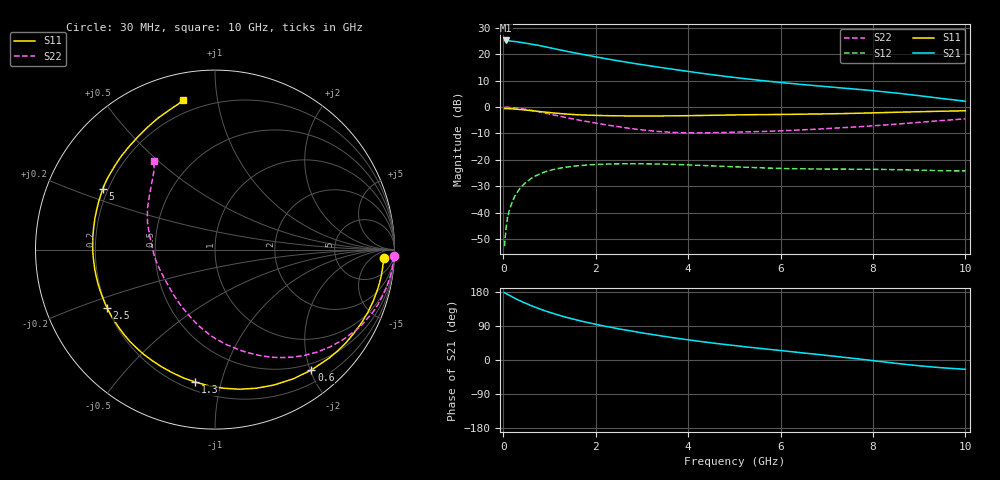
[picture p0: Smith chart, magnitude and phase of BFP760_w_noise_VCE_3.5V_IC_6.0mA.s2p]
! Infineon Technologies  Discrete & RF Semiconductors
! BFP760
! VCE =  3.5 V,  IC =  6.0 mA
! Common Emitter S-Parameters:  Nov 2012
# GHz  S  MA  R  50
!  f  S11  S21  S12  S22
! GHz  MAG  ANG  MAG  ANG  MAG  ANG  MAG  ANG
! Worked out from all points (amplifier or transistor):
!   99 points, 30 MHz to 10 GHz, reference 50 ohm
!   highest |S21| = 25.3 dB at 50 MHz (marker M1)
!   |S21| within 3 dB of that: start of sweep to 1.072 GHz
!   unconditionally stable (mu >= 1): 5.993 GHz to end of sweep
!   at 350 MHz: K = 0.10, MSG = 27.9 dB, |S12| = -31.1 dB
!   at 3.5 GHz: K = 0.53, MSG = 18.2 dB, |S12| = -21.6 dB
!   at 10 GHz: K = 1.26, MAG = 10.2 dB, |S12| = -24.2 dB
!   lowest NFmin = 0.43 dB at 900 MHz
!   S11 on the Smith chart (normalised r, x): 30 MHz: 20, -17; 600 MHz: 0.39, -2.02; 1.3 GHz: 0.25, -0.83; 2.5 GHz: 0.20, -0.24; 5 GHz: 0.18, +0.25; 10 GHz: 0.13, +0.80
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0.03  0.9423 -2.9  18.14 177.6  0.0023 84.9  0.9965 -2.2
0.05  0.9403 -4.6  18.41 175.9  0.0038 80.3  0.9946 -3.2
0.09  0.9378 -8.3  18.25 173.4  0.0081 80.5  0.9927 -5.7
0.25  0.9203 -22.4  17.58 163.1  0.0203 75.9  0.9679 -15.6
0.35  0.9035 -31.0  17.09 157.1  0.0279 71.4  0.9465 -21.5
0.45  0.8871 -39.3  16.56 151.5  0.0345 66.6  0.9202 -27.1
0.6  0.8595 -51.3  15.72 143.8  0.0441 59.6  0.8716 -35.2
0.8  0.8226 -66.6  14.64 134.3  0.0545 51.7  0.8071 -45.0
0.9  0.8057 -73.5  14.04 130.0  0.0589 48.1  0.7725 -49.7
1.1  0.7738 -86.5  12.88 122.1  0.0659 41.3  0.7078 -58.2
1.3  0.7464 -98.4  11.83 114.8  0.0712 35.6  0.6495 -65.9
1.7  0.7105 -119.4  10.1 102.4  0.0783 26.4  0.5542 -79.4
2.1  0.6936 -136.8  8.668 91.6  0.0822 18.9  0.4814 -92.4
2.5  0.6835 -151.5  7.529 82.3  0.084 12.9  0.4242 -104.2
3  0.6787 -167.4  6.405 71.7  0.0842 6.7  0.3706 -119.2
3.4  0.6805 -178.6  5.671 63.9  0.0831 2.6  0.3433 -131.2
4.2  0.6929 163.7  4.502 50.0  0.0788 -3.5  0.3245 -153.4
5  0.711 151.5  3.66 38.2  0.0738 -6.7  0.3342 -169.4
5.1  0.7129 150.2  3.574 36.8  0.0734 -6.9  0.3362 -171.0
6.7  0.7395 134.0  2.577 16.1  0.0671 -7.2  0.3788 165.7
8.5  0.7995 113.2  1.853 -8.8  0.0652 -8.2  0.4741 140.4
10  0.852 101.9  1.293 -24.5  0.0616 -5.8  0.5995 124.5
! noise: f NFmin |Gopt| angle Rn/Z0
0.9  0.43  0.36  26  0.11
1.8  0.51  0.31  54  0.1
2.4  0.6  0.27  76  0.09
3.5  0.77  0.22  111  0.08
5.5  0.98  0.33  -152  0.08
8  1.52  0.45  -100  0.25
